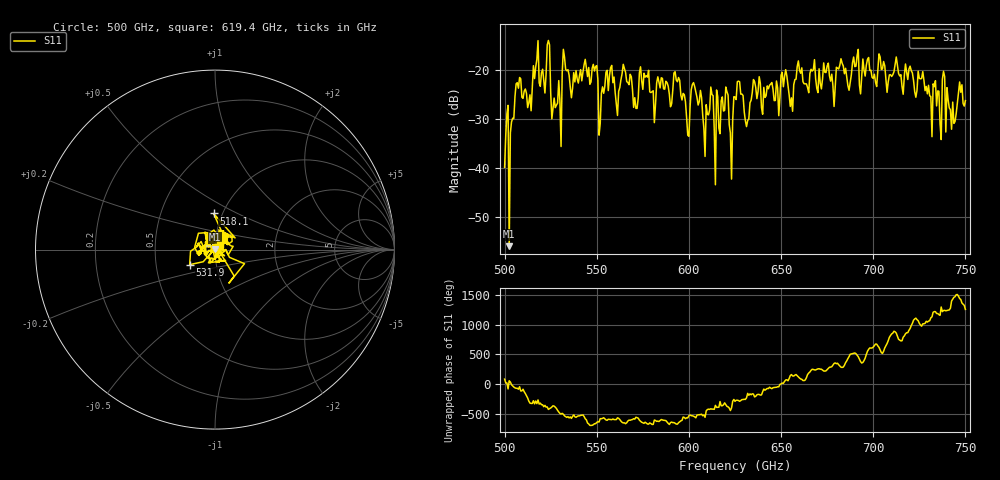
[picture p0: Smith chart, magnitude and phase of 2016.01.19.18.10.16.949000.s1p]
!Created with skrf (http://scikit-rf.org).
# GHz S RI R 50.0
!freq ReS11 ImS11
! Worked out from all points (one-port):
!   401 points, 500 GHz to 750 GHz, reference 50 ohm
!   lowest |S11| = -55.9 dB at 502.5 GHz (marker M1), VSWR 1.00, Z = 50.1 + j0.132 ohm
!   |S11| at or under -10 dB: start of sweep to end of sweep
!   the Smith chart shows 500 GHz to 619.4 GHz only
!   S11 on the Smith chart (normalised r, x): 500 GHz: 1.00, +0.02; 518.1 GHz: 0.91, +0.38; 531.9 GHz: 0.74, -0.13; 619.4 GHz: 1.06, +0.06
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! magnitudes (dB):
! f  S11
! 500 GHz  -39.8
! 502.5 GHz  -55.9
! 507.5 GHz  -23.6
! 513.1 GHz  -26.6
! 518.1 GHz  -13.9
! 523.8 GHz  -13.9
! 526.9 GHz  -25.6
! 531.2 GHz  -20.5
! 531.9 GHz  -15.7
! 548.8 GHz  -20.1
! 552.5 GHz  -24.7
! 562.5 GHz  -23.5
! 593.8 GHz  -22.3
! 599.4 GHz  -33.2
! 602.5 GHz  -22.5
! 608.8 GHz  -37.5
! 619.4 GHz  -28.2
! 623.1 GHz  -42.2
! 625 GHz  -25.4
! 627.5 GHz  -22.3
! 631.2 GHz  -31.5
! 635 GHz  -21.9
! 656.2 GHz  -28.3
! 660 GHz  -20.0
! 687.5 GHz  -22.5
! 718.8 GHz  -21.8
! 735.6 GHz  -24.2
! 750 GHz  -26.2
